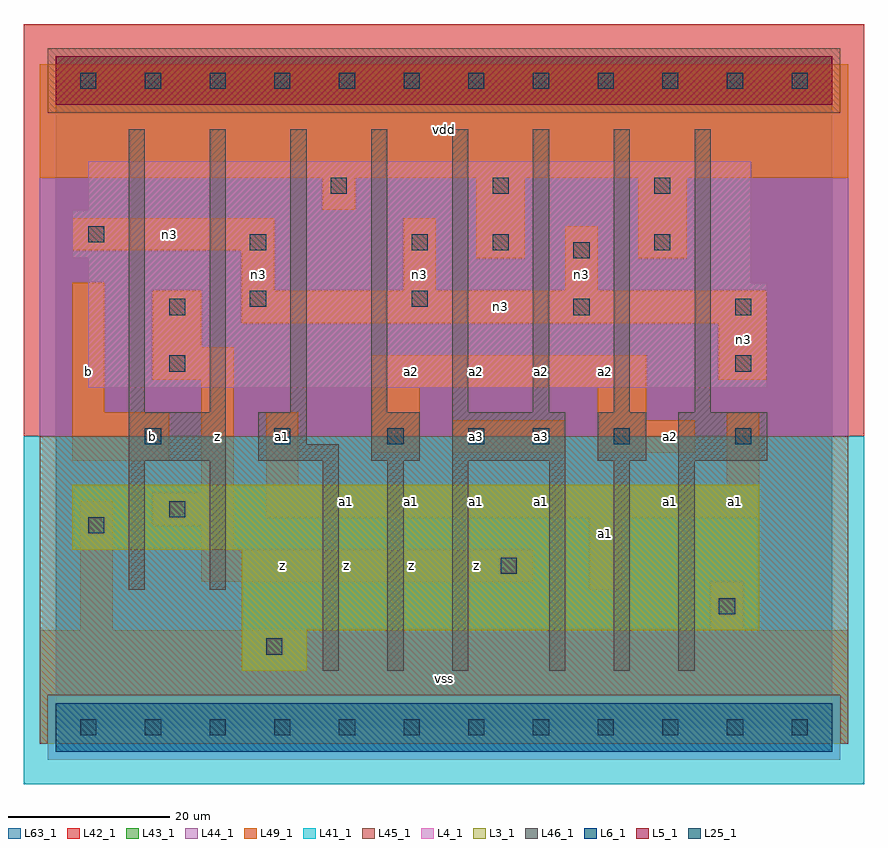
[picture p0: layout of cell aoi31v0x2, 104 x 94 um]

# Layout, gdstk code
import gdstk
lib = gdstk.Library(unit=1e-6, precision=1e-09)
def R(c, l, rs):  # rectangles x0, y0, x1, y1
    for r in rs: c.add(gdstk.rectangle(r[:2], r[2:], *l))
def A(c, l, x, y, w, h, nx, ny, dx, dy):  # array of equal rectangles
    R(c, l, [(x+i*dx, y+j*dy, x+i*dx+w, y+j*dy+h) for i in range(nx) for j in range(ny)])
L3_1 = (3, 1)
L4_1 = (4, 1)
L5_1 = (5, 1)
L6_1 = (6, 1)
L25_1 = (25, 1)
L41_1 = (41, 1)
L42_1 = (42, 1)
L43_1 = (43, 1)
L44_1 = (44, 1)
L45_1 = (45, 1)
L46_1 = (46, 1)
L49_1 = (49, 1)
L63_1 = (63, 1)

aoi31v0x2 = lib.new_cell('aoi31v0x2')
R(aoi31v0x2, L3_1, [(23,7,31,12), (23,12,87,22), (2,22,87,30)])
R(aoi31v0x2, L4_1, [(4,42,88,55), (4,55,86,58), (2,58,86,64), (4,64,86,70)])
R(aoi31v0x2, L5_1, [(0,77,96,83)])
R(aoi31v0x2, L6_1, [(0,-3,96,3), (0,-3,96,3)])
A(aoi31v0x2, L25_1, 3, -1, 2, 2, 12, 2, 8, 80)
A(aoi31v0x2, L25_1, 34, 66, 2, 2, 3, 1, 20, 0)
R(aoi31v0x2, L25_1, [(26,9,28,11), (82,14,84,16), (55,19,57,21), (4,24,6,26), (14,26,16,28), (11,35,13,37), (27,35,29,37), (41,35,43,37), (51,35,53,37), (59,35,61,37), (69,35,71,37), (84,35,86,37), (14,44,16,46), (84,44,86,46), (14,51,16,53), (64,51,66,53), (84,51,86,53), (24,52,26,54), (44,52,46,54), (64,58,66,60), (24,59,26,61), (44,59,46,61), (54,59,56,61), (74,59,76,61), (4,60,6,62)])
R(aoi31v0x2, L41_1, [(-4,-7,100,36)])
R(aoi31v0x2, L42_1, [(-4,36,100,87)])
R(aoi31v0x2, L43_1, [(0,-3,96,3), (23,7,31,12), (23,12,87,22), (2,22,87,30), (4,42,88,55), (4,55,86,58), (2,58,86,64), (4,64,86,70), (0,77,96,83)])
R(aoi31v0x2, L44_1, [(-1,-4,97,4), (-2,36,98,76), (-2,76,-1,82), (97,76,98,82)])
R(aoi31v0x2, L45_1, [(-2,-2,-1,4), (97,-2,98,4), (-2,4,98,36), (-1,76,97,84)])
A(aoi31v0x2, L46_1, 33, 7, 2, 26, 3, 1, 8, 0)
A(aoi31v0x2, L46_1, 61, 7, 2, 26, 3, 1, 8, 0)
A(aoi31v0x2, L46_1, 9, 39, 2, 35, 8, 1, 10, 0)
R(aoi31v0x2, L46_1, [(9,17,11,33), (19,17,21,33), (9,33,21,39), (25,33,35,35), (39,33,45,39), (49,33,63,39), (67,33,73,39), (77,33,88,39), (25,35,31,39)])
R(aoi31v0x2, L49_1, [(-2,-2,98,12), (3,12,7,28), (81,12,85,18), (66,17,70,26), (18,18,59,22), (18,22,22,25), (12,25,22,29), (26,26,87,30), (18,29,22,43), (26,30,30,39), (83,30,87,39), (2,33,14,39), (39,34,45,42), (49,34,63,38), (67,34,79,38), (67,38,73,42), (2,39,6,55), (39,42,73,46), (12,43,22,47), (82,43,88,50), (12,47,18,54), (23,50,88,54), (23,54,27,59), (43,54,47,63), (63,54,67,62), (52,58,58,68), (72,58,78,68), (2,59,27,63), (33,64,37,68), (-2,68,98,82)])
R(aoi31v0x2, L63_1, [(0,0,96,80)])
aoi31v0x2.add(gdstk.Label('b', (4,44), layer=49, texttype=1))
aoi31v0x2.add(gdstk.Label('b', (12,36), layer=49, texttype=1))
aoi31v0x2.add(gdstk.Label('z', (28,20), layer=49, texttype=1))
aoi31v0x2.add(gdstk.Label('z', (20,36), layer=49, texttype=1))
aoi31v0x2.add(gdstk.Label('a1', (28,36), layer=49, texttype=1))
aoi31v0x2.add(gdstk.Label('n3', (25,56), layer=49, texttype=1))
aoi31v0x2.add(gdstk.Label('n3', (14,61), layer=49, texttype=1))
aoi31v0x2.add(gdstk.Label('vss', (48,6), layer=49, texttype=1))
aoi31v0x2.add(gdstk.Label('z', (36,20), layer=49, texttype=1))
aoi31v0x2.add(gdstk.Label('a1', (36,28), layer=49, texttype=1))
aoi31v0x2.add(gdstk.Label('z', (44,20), layer=49, texttype=1))
aoi31v0x2.add(gdstk.Label('a1', (44,28), layer=49, texttype=1))
aoi31v0x2.add(gdstk.Label('z', (52,20), layer=49, texttype=1))
aoi31v0x2.add(gdstk.Label('a1', (52,28), layer=49, texttype=1))
aoi31v0x2.add(gdstk.Label('a2', (44,44), layer=49, texttype=1))
aoi31v0x2.add(gdstk.Label('a3', (52,36), layer=49, texttype=1))
aoi31v0x2.add(gdstk.Label('a2', (52,44), layer=49, texttype=1))
aoi31v0x2.add(gdstk.Label('n3', (45,56), layer=49, texttype=1))
aoi31v0x2.add(gdstk.Label('vdd', (48,74), layer=49, texttype=1))
aoi31v0x2.add(gdstk.Label('a1', (60,28), layer=49, texttype=1))
aoi31v0x2.add(gdstk.Label('a1', (68,24), layer=49, texttype=1))
aoi31v0x2.add(gdstk.Label('a1', (76,28), layer=49, texttype=1))
aoi31v0x2.add(gdstk.Label('a3', (60,36), layer=49, texttype=1))
aoi31v0x2.add(gdstk.Label('a2', (60,44), layer=49, texttype=1))
aoi31v0x2.add(gdstk.Label('a2', (68,44), layer=49, texttype=1))
aoi31v0x2.add(gdstk.Label('a2', (76,36), layer=49, texttype=1))
aoi31v0x2.add(gdstk.Label('n3', (65,56), layer=49, texttype=1))
aoi31v0x2.add(gdstk.Label('a1', (84,28), layer=49, texttype=1))
aoi31v0x2.add(gdstk.Label('n3', (85,48), layer=49, texttype=1))
aoi31v0x2.add(gdstk.Label('n3', (55,52), layer=49, texttype=1))

lib.write_gds('aoi31v0x2.gds')
